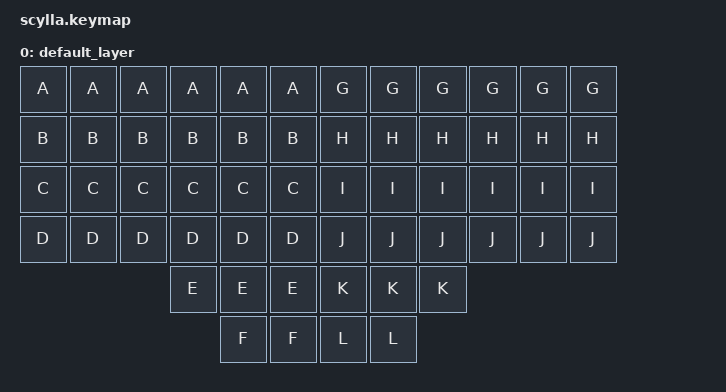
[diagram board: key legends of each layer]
#include <behaviors.dtsi>
#include <dt-bindings/zmk/keys.h>

/ {
    keymap {
        compatible = "zmk,keymap";

        default_layer {
            bindings = <
                &kp A    &kp A    &kp A    &kp A    &kp A    &kp A          &kp G    &kp G    &kp G    &kp G    &kp G    &kp G
                &kp B    &kp B    &kp B    &kp B    &kp B    &kp B          &kp H    &kp H    &kp H    &kp H    &kp H    &kp H
                &kp C    &kp C    &kp C    &kp C    &kp C    &kp C          &kp I    &kp I    &kp I    &kp I    &kp I    &kp I
                &kp D    &kp D    &kp D    &kp D    &kp D    &kp D          &kp J    &kp J    &kp J    &kp J    &kp J    &kp J
                                           &kp E    &kp E    &kp E          &kp K    &kp K    &kp K
                                                    &kp F    &kp F          &kp L    &kp L
            >;
        };
    };
 };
